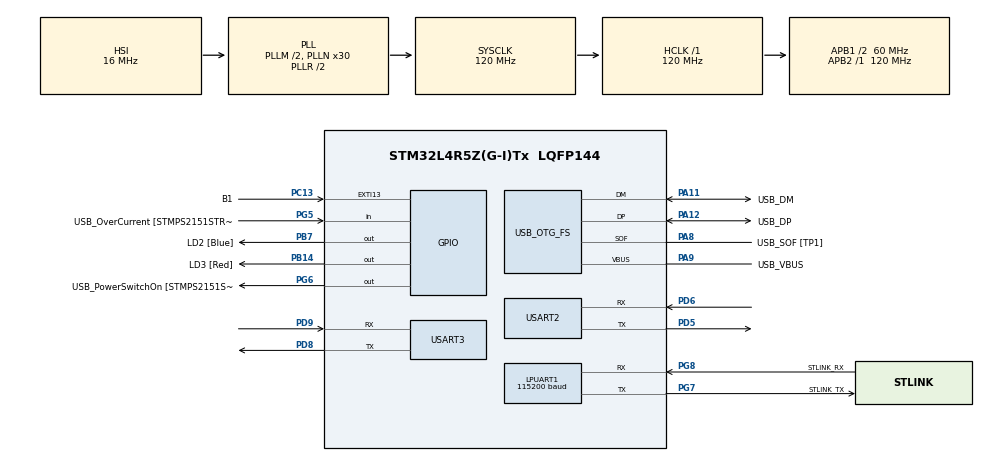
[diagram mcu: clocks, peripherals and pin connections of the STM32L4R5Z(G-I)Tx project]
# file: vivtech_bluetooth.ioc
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LPUART1.BaudRate=115200
LPUART1.WordLength=UART_WORDLENGTH_8B
Mcu.Family=STM32L4
Mcu.Name=STM32L4R5Z(G-I)Tx
Mcu.Package=LQFP144
NVIC.PriorityGroup=NVIC_PRIORITYGROUP_4
PA10.GPIO_Label=USB_ID
PA10.Signal=USB_OTG_FS_ID
PA11.GPIO_Label=USB_DM
PA11.Mode=Device_Only
PA11.Signal=USB_OTG_FS_DM
PA12.GPIO_Label=USB_DP
PA12.Mode=Device_Only
PA12.Signal=USB_OTG_FS_DP
PA13\ (JTMS/SWDIO).GPIO_Label=TMS
PA13\ (JTMS/SWDIO).Mode=Trace_Asynchronous_SW
PA13\ (JTMS/SWDIO).Signal=SYS_JTMS-SWDIO
PA14\ (JTCK/SWCLK).GPIO_Label=TCK
PA14\ (JTCK/SWCLK).Mode=Trace_Asynchronous_SW
PA14\ (JTCK/SWCLK).Signal=SYS_JTCK-SWCLK
PA8.GPIO_Label=USB_SOF [TP1]
PA8.Mode=Activate_SOF_FS
PA8.Signal=USB_OTG_FS_SOF
PA9.GPIO_Label=USB_VBUS
PA9.Mode=Activate_VBUS
PA9.Signal=USB_OTG_FS_VBUS
PB14.GPIO_Label=LD3 [Red]
PB14.Signal=GPIO_Output
PB3\ (JTDO/TRACESWO).GPIO_Label=SWO
PB3\ (JTDO/TRACESWO).Mode=Trace_Asynchronous_SW
PB3\ (JTDO/TRACESWO).Signal=SYS_JTDO-SWO
PB7.GPIO_Label=LD2 [Blue]
PB7.Signal=GPIO_Output
PC13.GPIO_Label=B1
PC13.Signal=GPXTI13
PC14-OSC32_IN\ (PC14).Mode=LSE-External-Oscillator
PC14-OSC32_IN\ (PC14).Signal=RCC_OSC32_IN
PC15-OSC32_OUT\ (PC15).Mode=LSE-External-Oscillator
PC15-OSC32_OUT\ (PC15).Signal=RCC_OSC32_OUT
PD5.Mode=Asynchronous
PD5.Signal=USART2_TX
PD6.Mode=Asynchronous
PD6.Signal=USART2_RX
PD8.GPIO_ModeDefaultPP=GPIO_MODE_AF_PP
PD8.GPIO_PuPd=GPIO_NOPULL
PD8.GPIO_Speed=GPIO_SPEED_FREQ_VERY_HIGH
PD8.Mode=Asynchronous
PD8.Signal=USART3_TX
PD9.GPIO_ModeDefaultPP=GPIO_MODE_AF_PP
PD9.GPIO_PuPd=GPIO_NOPULL
PD9.GPIO_Speed=GPIO_SPEED_FREQ_VERY_HIGH
PD9.Mode=Asynchronous
PD9.Signal=USART3_RX
PG5.GPIO_Label=USB_OverCurrent [STMPS2151STR_FAULT]
PG5.Signal=GPIO_Input
PG6.GPIO_Label=USB_PowerSwitchOn [STMPS2151STR_EN]
PG6.Signal=GPIO_Output
PG7.GPIO_Label=STLINK_TX
PG7.Mode=Asynchronous
PG7.Signal=LPUART1_TX
PG8.GPIO_Label=STLINK_RX
PG8.Mode=Asynchronous
PG8.Signal=LPUART1_RX
PH0-OSC_IN\ (PH0).Signal=RCC_OSC_IN
PH1-OSC_OUT\ (PH1).Signal=RCC_OSC_OUT
ProjectManager.HeapSize=0x200
ProjectManager.StackSize=0x400
ProjectManager.TargetToolchain=STM32CubeIDE
RCC.48MHZClocksFreq_Value=24000000
RCC.ADCFreq_Value=96000000
RCC.AHBFreq_Value=120000000
RCC.APB1CLKDivider=RCC_HCLK_DIV2
RCC.APB1Freq_Value=60000000
RCC.APB1TimFreq_Value=120000000
RCC.APB2Freq_Value=120000000
RCC.APB2TimFreq_Value=120000000
RCC.CK48CLockSelection=RCC_USBCLKSOURCE_HSI48
RCC.CortexFreq_Value=120000000
RCC.HCLKFreq_Value=120000000
RCC.HSE_VALUE=8000000
RCC.HSI48_VALUE=48000000
RCC.HSI_VALUE=16000000
RCC.MSI_VALUE=4000000
RCC.PLLM1=2
RCC.PLLMUL=RCC_PLL_MUL9
RCC.PLLN=30
RCC.PLLSAI1N=12
RCC.PLLSourceVirtual=RCC_PLLSOURCE_HSI
RCC.PRESCALERUSB=RCC_USBCLKSOURCE_PLL_DIV1_5
RCC.SYSCLKFreq_VALUE=120000000
RCC.SYSCLKSource=RCC_SYSCLKSOURCE_PLLCLK
RCC.SYSCLKSourceVirtual=RCC_SYSCLKSOURCE_PLLCLK
RCC.USBFreq_Value=48000000
RCC.VCOOutputFreq_Value=240000000
USART2.VirtualMode-Asynchronous=VM_ASYNC
USART3.VirtualMode-Asynchronous=VM_ASYNC
USB_OTG_FS.VirtualMode=Device_Only
board=NUCLEO-L4R5ZI

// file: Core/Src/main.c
/* USER CODE BEGIN Header */
/**
  ******************************************************************************
  * @file           : main.c
  * @brief          : Main program body
  ******************************************************************************
  * @attention
  *
  * Copyright (c) 2026 STMicroelectronics.
  * All rights reserved.
  *
  * This software is licensed under terms that can be found in the LICENSE file
  * in the root directory of this software component.
  * If no LICENSE file comes with this software, it is provided AS-IS.
  *
  ******************************************************************************
  */
/* USER CODE END Header */
#include "main.h"

/* USER CODE BEGIN Includes */
#include "stdio.h"
/* USER CODE END Includes */

UART_HandleTypeDef hlpuart1;
UART_HandleTypeDef huart2;
UART_HandleTypeDef huart3;

PCD_HandleTypeDef hpcd_USB_OTG_FS;

/* USER CODE BEGIN PV */
uint8_t rx_data;
/* USER CODE END PV */

void SystemClock_Config(void);
static void MX_GPIO_Init(void);
static void MX_LPUART1_UART_Init(void);
static void MX_USART3_UART_Init(void);
static void MX_USB_OTG_FS_PCD_Init(void);
static void MX_USART2_UART_Init(void);

int main(void)
{

  /* MCU Configuration--------------------------------------------------------*/

  /* Reset of all peripherals, Initializes the Flash interface and the Systick. */
  HAL_Init();

  /* Configure the system clock */
  SystemClock_Config();

  /* Initialize all configured peripherals */
  MX_GPIO_Init();
  MX_LPUART1_UART_Init();
  MX_USART3_UART_Init();
  MX_USB_OTG_FS_PCD_Init();
  MX_USART2_UART_Init();
  /* USER CODE BEGIN 2 */
  HAL_UART_Receive_IT(&huart2, &rx_data, 1);
  /* USER CODE END 2 */

  /* Infinite loop */
  while (1)
  {

  }
}

void SystemClock_Config(void)
{
  RCC_OscInitTypeDef RCC_OscInitStruct = {0};
  RCC_ClkInitTypeDef RCC_ClkInitStruct = {0};

  /** Configure the main internal regulator output voltage
  */
  if (HAL_PWREx_ControlVoltageScaling(PWR_REGULATOR_VOLTAGE_SCALE1_BOOST) != HAL_OK)
  {
    Error_Handler();
  }

  /** Initializes the RCC Oscillators according to the specified parameters
  * in the RCC_OscInitTypeDef structure.
  */
  RCC_OscInitStruct.OscillatorType = RCC_OSCILLATORTYPE_HSI48|RCC_OSCILLATORTYPE_HSI;
  RCC_OscInitStruct.HSIState = RCC_HSI_ON;
  RCC_OscInitStruct.HSI48State = RCC_HSI48_ON;
  RCC_OscInitStruct.HSICalibrationValue = RCC_HSICALIBRATION_DEFAULT;
  RCC_OscInitStruct.PLL.PLLState = RCC_PLL_ON;
  RCC_OscInitStruct.PLL.PLLSource = RCC_PLLSOURCE_HSI;
  RCC_OscInitStruct.PLL.PLLM = 2;
  RCC_OscInitStruct.PLL.PLLN = 30;
  RCC_OscInitStruct.PLL.PLLP = RCC_PLLP_DIV2;
  RCC_OscInitStruct.PLL.PLLQ = RCC_PLLQ_DIV2;
  RCC_OscInitStruct.PLL.PLLR = RCC_PLLR_DIV2;
  if (HAL_RCC_OscConfig(&RCC_OscInitStruct) != HAL_OK)
  {
    Error_Handler();
  }

  /** Initializes the CPU, AHB and APB buses clocks
  */
  RCC_ClkInitStruct.ClockType = RCC_CLOCKTYPE_HCLK|RCC_CLOCKTYPE_SYSCLK
                              |RCC_CLOCKTYPE_PCLK1|RCC_CLOCKTYPE_PCLK2;
  RCC_ClkInitStruct.SYSCLKSource = RCC_SYSCLKSOURCE_PLLCLK;
  RCC_ClkInitStruct.AHBCLKDivider = RCC_SYSCLK_DIV1;
  RCC_ClkInitStruct.APB1CLKDivider = RCC_HCLK_DIV2;
  RCC_ClkInitStruct.APB2CLKDivider = RCC_HCLK_DIV1;

  if (HAL_RCC_ClockConfig(&RCC_ClkInitStruct, FLASH_LATENCY_5) != HAL_OK)
  {
    Error_Handler();
  }
}

static void MX_LPUART1_UART_Init(void)
{

  hlpuart1.Instance = LPUART1;
  hlpuart1.Init.BaudRate = 115200;
  hlpuart1.Init.WordLength = UART_WORDLENGTH_8B;
  hlpuart1.Init.StopBits = UART_STOPBITS_1;
  hlpuart1.Init.Parity = UART_PARITY_NONE;
  hlpuart1.Init.Mode = UART_MODE_TX_RX;
  hlpuart1.Init.HwFlowCtl = UART_HWCONTROL_NONE;
  hlpuart1.Init.OneBitSampling = UART_ONE_BIT_SAMPLE_DISABLE;
  hlpuart1.Init.ClockPrescaler = UART_PRESCALER_DIV1;
  hlpuart1.AdvancedInit.AdvFeatureInit = UART_ADVFEATURE_NO_INIT;
  hlpuart1.FifoMode = UART_FIFOMODE_DISABLE;
  if (HAL_UART_Init(&hlpuart1) != HAL_OK)
  {
    Error_Handler();
  }
  if (HAL_UARTEx_SetTxFifoThreshold(&hlpuart1, UART_TXFIFO_THRESHOLD_1_8) != HAL_OK)
  {
    Error_Handler();
  }
  if (HAL_UARTEx_SetRxFifoThreshold(&hlpuart1, UART_RXFIFO_THRESHOLD_1_8) != HAL_OK)
  {
    Error_Handler();
  }
  if (HAL_UARTEx_DisableFifoMode(&hlpuart1) != HAL_OK)
  {
    Error_Handler();
  }

}

static void MX_USART2_UART_Init(void)
{

  huart2.Instance = USART2;
  huart2.Init.BaudRate = 115200;
  huart2.Init.WordLength = UART_WORDLENGTH_8B;
  huart2.Init.StopBits = UART_STOPBITS_1;
  huart2.Init.Parity = UART_PARITY_NONE;
  huart2.Init.Mode = UART_MODE_TX_RX;
  huart2.Init.HwFlowCtl = UART_HWCONTROL_NONE;
  huart2.Init.OverSampling = UART_OVERSAMPLING_16;
  huart2.Init.OneBitSampling = UART_ONE_BIT_SAMPLE_DISABLE;
  huart2.Init.ClockPrescaler = UART_PRESCALER_DIV1;
  huart2.AdvancedInit.AdvFeatureInit = UART_ADVFEATURE_NO_INIT;
  if (HAL_UART_Init(&huart2) != HAL_OK)
  {
    Error_Handler();
  }
  if (HAL_UARTEx_SetTxFifoThreshold(&huart2, UART_TXFIFO_THRESHOLD_1_8) != HAL_OK)
  {
    Error_Handler();
  }
  if (HAL_UARTEx_SetRxFifoThreshold(&huart2, UART_RXFIFO_THRESHOLD_1_8) != HAL_OK)
  {
    Error_Handler();
  }
  if (HAL_UARTEx_DisableFifoMode(&huart2) != HAL_OK)
  {
    Error_Handler();
  }

}

static void MX_USART3_UART_Init(void)
{

  huart3.Instance = USART3;
  huart3.Init.BaudRate = 115200;
  huart3.Init.WordLength = UART_WORDLENGTH_8B;
  huart3.Init.StopBits = UART_STOPBITS_1;
  huart3.Init.Parity = UART_PARITY_NONE;
  huart3.Init.Mode = UART_MODE_TX_RX;
  huart3.Init.HwFlowCtl = UART_HWCONTROL_NONE;
  huart3.Init.OverSampling = UART_OVERSAMPLING_16;
  huart3.Init.OneBitSampling = UART_ONE_BIT_SAMPLE_DISABLE;
  huart3.Init.ClockPrescaler = UART_PRESCALER_DIV1;
  huart3.AdvancedInit.AdvFeatureInit = UART_ADVFEATURE_NO_INIT;
  if (HAL_UART_Init(&huart3) != HAL_OK)
  {
    Error_Handler();
  }
  if (HAL_UARTEx_SetTxFifoThreshold(&huart3, UART_TXFIFO_THRESHOLD_1_8) != HAL_OK)
  {
    Error_Handler();
  }
  if (HAL_UARTEx_SetRxFifoThreshold(&huart3, UART_RXFIFO_THRESHOLD_1_8) != HAL_OK)
  {
    Error_Handler();
  }
  if (HAL_UARTEx_DisableFifoMode(&huart3) != HAL_OK)
  {
    Error_Handler();
  }

}

static void MX_USB_OTG_FS_PCD_Init(void)
{

  hpcd_USB_OTG_FS.Instance = USB_OTG_FS;
  hpcd_USB_OTG_FS.Init.dev_endpoints = 6;
  hpcd_USB_OTG_FS.Init.speed = PCD_SPEED_FULL;
  hpcd_USB_OTG_FS.Init.phy_itface = PCD_PHY_EMBEDDED;
  hpcd_USB_OTG_FS.Init.Sof_enable = ENABLE;
  hpcd_USB_OTG_FS.Init.low_power_enable = DISABLE;
  hpcd_USB_OTG_FS.Init.lpm_enable = DISABLE;
  hpcd_USB_OTG_FS.Init.battery_charging_enable = ENABLE;
  hpcd_USB_OTG_FS.Init.use_dedicated_ep1 = DISABLE;
  hpcd_USB_OTG_FS.Init.vbus_sensing_enable = ENABLE;
  if (HAL_PCD_Init(&hpcd_USB_OTG_FS) != HAL_OK)
  {
    Error_Handler();
  }

}

static void MX_GPIO_Init(void)
{
  GPIO_InitTypeDef GPIO_InitStruct = {0};

  /* GPIO Ports Clock Enable */
  __HAL_RCC_GPIOC_CLK_ENABLE();
  __HAL_RCC_GPIOH_CLK_ENABLE();
  __HAL_RCC_GPIOB_CLK_ENABLE();
  __HAL_RCC_GPIOD_CLK_ENABLE();
  __HAL_RCC_GPIOG_CLK_ENABLE();
  HAL_PWREx_EnableVddIO2();
  __HAL_RCC_GPIOA_CLK_ENABLE();

  /*Configure GPIO pin Output Level */
  HAL_GPIO_WritePin(GPIOB, LD3_Pin|LD2_Pin, GPIO_PIN_RESET);

  /*Configure GPIO pin Output Level */
  HAL_GPIO_WritePin(USB_PowerSwitchOn_GPIO_Port, USB_PowerSwitchOn_Pin, GPIO_PIN_RESET);

  /*Configure GPIO pin : B1_Pin */
  GPIO_InitStruct.Pin = B1_Pin;
  GPIO_InitStruct.Mode = GPIO_MODE_IT_RISING;
  GPIO_InitStruct.Pull = GPIO_NOPULL;
  HAL_GPIO_Init(B1_GPIO_Port, &GPIO_InitStruct);

  /*Configure GPIO pins : LD3_Pin LD2_Pin */
  GPIO_InitStruct.Pin = LD3_Pin|LD2_Pin;
  GPIO_InitStruct.Mode = GPIO_MODE_OUTPUT_PP;
  GPIO_InitStruct.Pull = GPIO_NOPULL;
  GPIO_InitStruct.Speed = GPIO_SPEED_FREQ_LOW;
  HAL_GPIO_Init(GPIOB, &GPIO_InitStruct);

  /*Configure GPIO pin : USB_OverCurrent_Pin */
  GPIO_InitStruct.Pin = USB_OverCurrent_Pin;
  GPIO_InitStruct.Mode = GPIO_MODE_INPUT;
  GPIO_InitStruct.Pull = GPIO_NOPULL;
  HAL_GPIO_Init(USB_OverCurrent_GPIO_Port, &GPIO_InitStruct);

  /*Configure GPIO pin : USB_PowerSwitchOn_Pin */
  GPIO_InitStruct.Pin = USB_PowerSwitchOn_Pin;
  GPIO_InitStruct.Mode = GPIO_MODE_OUTPUT_PP;
  GPIO_InitStruct.Pull = GPIO_NOPULL;
  GPIO_InitStruct.Speed = GPIO_SPEED_FREQ_LOW;
  HAL_GPIO_Init(USB_PowerSwitchOn_GPIO_Port, &GPIO_InitStruct);

}

/* USER CODE BEGIN 4 */
void HAL_UART_RxCpltCallback(UART_HandleTypeDef *huart) { // ugh interrupt
	if (huart->Instance == USART2) { // Bluetooth on UART2
		printf("RX: %c\r\n", rx_data); // Print character
		switch(rx_data) {
			case 'A':// decrease temp
			printf("Temp decreased \r\n");
	        break;

	        case 'B':// Increase temp
	        printf("Temp increased \r\n");
	        break;

	        case 'C': // Decrease humidity
	        printf("Humidity decreased \r\n");
	        break;

	        case 'D': // Increase humidity
	        printf("Humidity increased \r\n");
	        break;

	        case 'E': // Take picture
	        printf("Pic taken \r\n");
	        break;

	        case 'F': // Light on/off
	        printf("Light toggled \r\n");
	        break;
		}
	    HAL_UART_Receive_IT(&huart2, &rx_data, 1);
	}
}

#ifdef __GNUC__
#define PUTCHAR_PROTOTYPE int __io_putchar(int ch)
#else
  #define PUTCHAR_PROTOTYPE int fputc(int ch, FILE *f)
#endif /* __GNUC__ */
PUTCHAR_PROTOTYPE {
  HAL_UART_Transmit(&hlpuart1, (uint8_t *)&ch, 1, 0xFFFF);
  return ch;
}

/* USER CODE END 4 */

void Error_Handler(void)
{
  __disable_irq();
  while (1)
  {
  }
}
